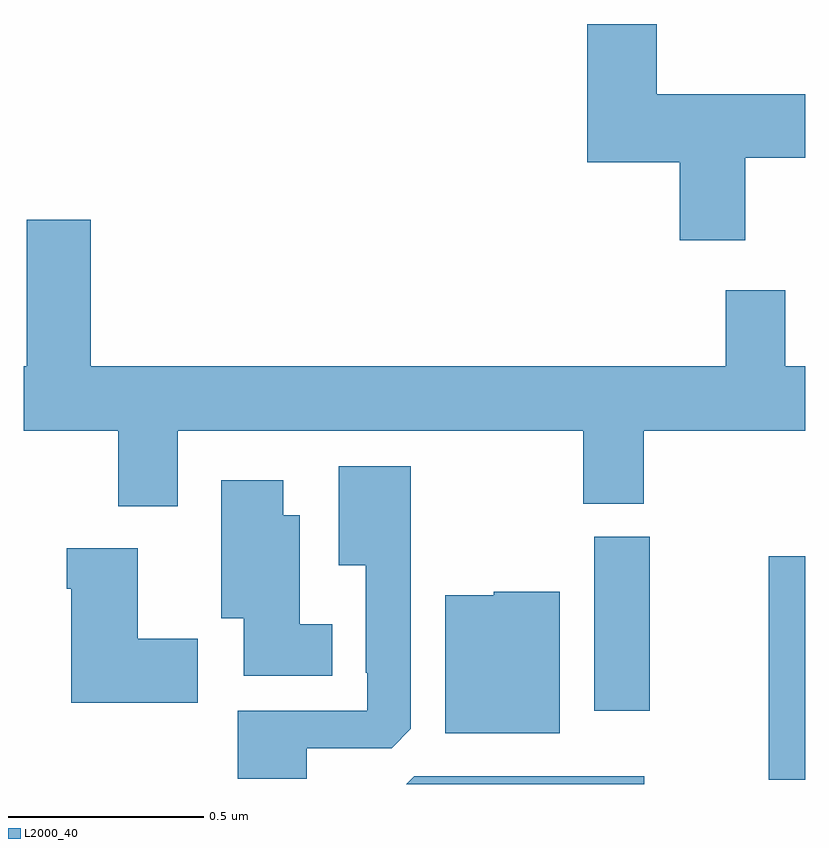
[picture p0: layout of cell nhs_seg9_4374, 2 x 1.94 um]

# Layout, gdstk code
import gdstk
lib = gdstk.Library(unit=1e-6, precision=1e-09)
def R(c, l, rs):  # rectangles x0, y0, x1, y1
    for r in rs: c.add(gdstk.rectangle(r[:2], r[2:], *l))
def P(c, l, *ps):  # polygons
    for p in ps: c.add(gdstk.Polygon(p, *l))
L2000_40 = (2000, 40)

nhs_seg9_4374 = lib.new_cell('nhs_seg9_4374')
R(nhs_seg9_4374, L2000_40, [(166.906,1211.511,167,1212.082), (166.46,1211.688,166.602,1212.132)])
P(nhs_seg9_4374, L2000_40, [(166.846,1213.102),(166.999,1213.102),(166.999,1213.264),(166.62,1213.264),(166.62,1213.444),(166.442,1213.444),(166.442,1213.091),(166.679,1213.091),(166.679,1212.891),(166.846,1212.891)],
  [(165.242,1212.21),(165.394,1212.21),(165.394,1212.404),(166.432,1212.404),(166.432,1212.217),(166.587,1212.217),(166.587,1212.404),(167,1212.404),(167,1212.568),(166.948,1212.568),(166.948,1212.763),(166.796,1212.763),(166.796,1212.568),(165.172,1212.568),(165.172,1212.943),(165.008,1212.943),(165.008,1212.568),(165,1212.568),(165,1212.404),(165.242,1212.404)],
  [(165.724,1211.592),(165.942,1211.592),(165.991,1211.641),(165.991,1212.313),(165.806,1212.313),(165.806,1212.059),(165.875,1212.059),(165.875,1211.785),(165.879,1211.785),(165.879,1211.688),(165.548,1211.688),(165.548,1211.513),(165.724,1211.513)],
  [(165.79,1211.908),(165.706,1211.908),(165.706,1212.187),(165.664,1212.187),(165.664,1212.277),(165.506,1212.277),(165.506,1211.924),(165.563,1211.924),(165.563,1211.777),(165.79,1211.777)],
  [(165.445,1211.871),(165.292,1211.871),(165.292,1212.103),(165.11,1212.103),(165.11,1211.999),(165.122,1211.999),(165.122,1211.708),(165.445,1211.708)],
  [(166.372,1211.992),(166.203,1211.992),(166.203,1211.983),(166.079,1211.983),(166.079,1211.63),(166.372,1211.63)],
  [(166.588,1211.52),(165.999,1211.52),(165.979,1211.5),(166.588,1211.5)])

lib.write_gds('nhs_seg9_4374.gds')
